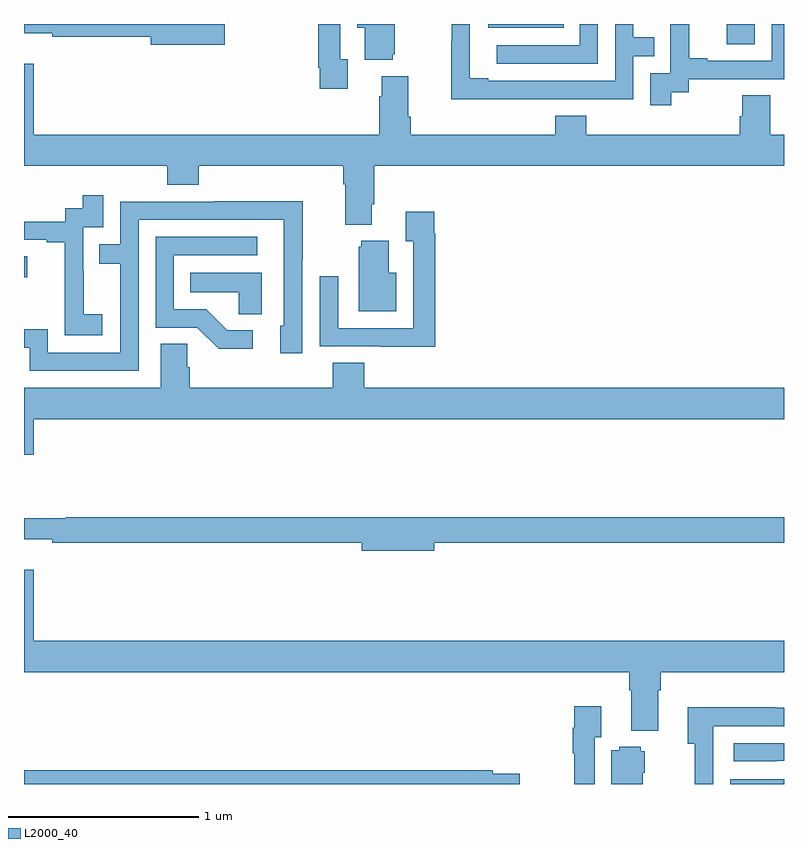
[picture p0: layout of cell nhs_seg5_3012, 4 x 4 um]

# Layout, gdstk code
import gdstk
lib = gdstk.Library(unit=1e-6, precision=1e-09)
def R(c, l, rs):  # rectangles x0, y0, x1, y1
    for r in rs: c.add(gdstk.rectangle(r[:2], r[2:], *l))
def P(c, l, *ps):  # polygons
    for p in ps: c.add(gdstk.Polygon(p, *l))
L2000_40 = (2000, 40)

nhs_seg5_3012 = lib.new_cell('nhs_seg5_3012')
R(nhs_seg5_3012, L2000_40, [(288.716,894.799,289,894.825), (285,897.467,285.016,897.577), (288.699,898.692,288.846,898.799), (287.444,898.778,287.84,898.799), (287.061,898.797,287.157,898.799)])
P(nhs_seg5_3012, L2000_40, [(288.406,898.441),(288.498,898.441),(288.498,898.509),(289,898.509),(289,898.799),(288.936,898.799),(288.936,898.605),(288.595,898.605),(288.595,898.618),(288.5,898.618),(288.5,898.799),(288.401,898.799),(288.401,898.769),(288.402,898.769),(288.402,898.539),(288.297,898.539),(288.297,898.371),(288.406,898.371)],
  [(286.057,898.799),(285,898.799),(285,898.751),(285.148,898.751),(285.148,898.732),(285.668,898.732),(285.668,898.69),(286.057,898.69)],
  [(287.711,898.404),(288.207,898.404),(288.207,898.629),(288.317,898.629),(288.317,898.73),(288.207,898.73),(288.207,898.799),(288.111,898.799),(288.111,898.5),(287.443,898.5),(287.443,898.513),(287.346,898.513),(287.346,898.799),(287.25,898.799),(287.25,898.709),(287.248,898.709),(287.248,898.403),(287.711,898.403)],
  [(288.021,898.799),(287.925,898.799),(287.925,898.686),(287.487,898.686),(287.487,898.59),(288.021,898.59)],
  [(286.94,898.641),(286.951,898.641),(286.951,898.799),(286.754,898.799),(286.754,898.778),(286.793,898.778),(286.793,898.61),(286.94,898.61)],
  [(286.705,898.614),(286.665,898.614),(286.665,898.799),(286.549,898.799),(286.549,898.57),(286.557,898.57),(286.557,898.458),(286.705,898.458)],
  [(286.831,897.85),(286.844,897.85),(286.844,898.052),(289,898.052),(289,898.216),(288.927,898.216),(288.927,898.424),(288.779,898.424),(288.779,898.314),(288.767,898.314),(288.767,898.216),(287.96,898.216),(287.96,898.315),(287.795,898.315),(287.795,898.216),(287.036,898.216),(287.036,898.312),(287.023,898.312),(287.023,898.525),(286.883,898.525),(286.883,898.418),(286.871,898.418),(286.871,898.216),(285.052,898.216),(285.052,898.591),(285,898.591),(285,898.052),(285.755,898.052),(285.755,897.953),(285.92,897.953),(285.92,898.052),(286.679,898.052),(286.679,897.956),(286.691,897.956),(286.691,897.743),(286.831,897.743)],
  [(285.412,897.271),(285.314,897.271),(285.314,897.5),(285.312,897.5),(285.312,897.729),(285.417,897.729),(285.417,897.898),(285.309,897.898),(285.309,897.828),(285.216,897.828),(285.216,897.759),(285,897.759),(285,897.663),(285.119,897.663),(285.119,897.651),(285.215,897.651),(285.215,897.367),(285.214,897.367),(285.214,897.161),(285.412,897.161)],
  [(285.603,897.768),(286.368,897.768),(286.368,897.21),(286.349,897.21),(286.349,897.066),(286.464,897.066),(286.464,897.559),(286.467,897.559),(286.467,897.866),(286.003,897.866),(286.003,897.864),(285.507,897.864),(285.507,897.639),(285.397,897.639),(285.397,897.538),(285.507,897.538),(285.507,897.069),(285.126,897.069),(285.126,897.192),(285,897.192),(285,897.096),(285.029,897.096),(285.029,896.973),(285.603,896.973)],
  [(287.165,897.698),(287.158,897.698),(287.158,897.811),(287.009,897.811),(287.009,897.655),(287.049,897.655),(287.049,897.198),(286.653,897.198),(286.653,897.472),(286.557,897.472),(286.557,897.102),(286.873,897.102),(286.873,897.101),(287.165,897.101)],
  [(286.204,897.186),(286.069,897.186),(285.958,897.297),(285.789,897.297),(285.789,897.582),(286.228,897.582),(286.228,897.678),(285.693,897.678),(285.693,897.201),(285.912,897.201),(286.025,897.089),(286.204,897.089)],
  [(286.96,897.49),(286.921,897.49),(286.921,897.658),(286.775,897.658),(286.775,897.627),(286.763,897.627),(286.763,897.287),(286.96,897.287)],
  [(286.252,897.49),(285.874,897.49),(285.874,897.386),(286.131,897.386),(286.131,897.271),(286.252,897.271)],
  [(285.052,896.72),(289,896.72),(289,896.884),(286.79,896.884),(286.79,897.017),(286.625,897.017),(286.625,896.884),(285.872,896.884),(285.872,896.993),(285.858,896.993),(285.858,897.116),(285.719,897.116),(285.719,896.884),(285,896.884),(285,896.532),(285.052,896.532)],
  [(287.158,896.068),(289,896.068),(289,896.204),(285.221,896.204),(285.221,896.197),(285,896.197),(285,896.087),(285.148,896.087),(285.148,896.068),(286.778,896.068),(286.778,896.026),(287.158,896.026)],
  [(288.337,895.292),(288.35,895.292),(288.35,895.388),(289,895.388),(289,895.552),(285.052,895.552),(285.052,895.927),(285,895.927),(285,895.388),(288.185,895.388),(288.185,895.292),(288.197,895.292),(288.197,895.079),(288.337,895.079)],
  [(288.003,895.046),(288.037,895.046),(288.037,895.207),(287.895,895.207),(287.895,895.094),(287.887,895.094),(287.887,894.962),(287.895,894.962),(287.895,894.799),(288.003,894.799)],
  [(288.627,895.104),(289,895.104),(289,895.2),(288.959,895.2),(288.959,895.202),(288.494,895.202),(288.494,895.01),(288.531,895.01),(288.531,894.799),(288.627,894.799)],
  [(288.965,894.921),(289,894.921),(289,895.014),(288.735,895.014),(288.735,894.918),(288.965,894.918)],
  [(288.256,894.858),(288.268,894.858),(288.268,894.972),(288.246,894.972),(288.246,894.994),(288.132,894.994),(288.132,894.976),(288.092,894.976),(288.092,894.799),(288.256,894.799)],
  [(287.61,894.852),(287.468,894.852),(287.468,894.872),(285,894.872),(285,894.799),(287.61,894.799)])

lib.write_gds('nhs_seg5_3012.gds')
